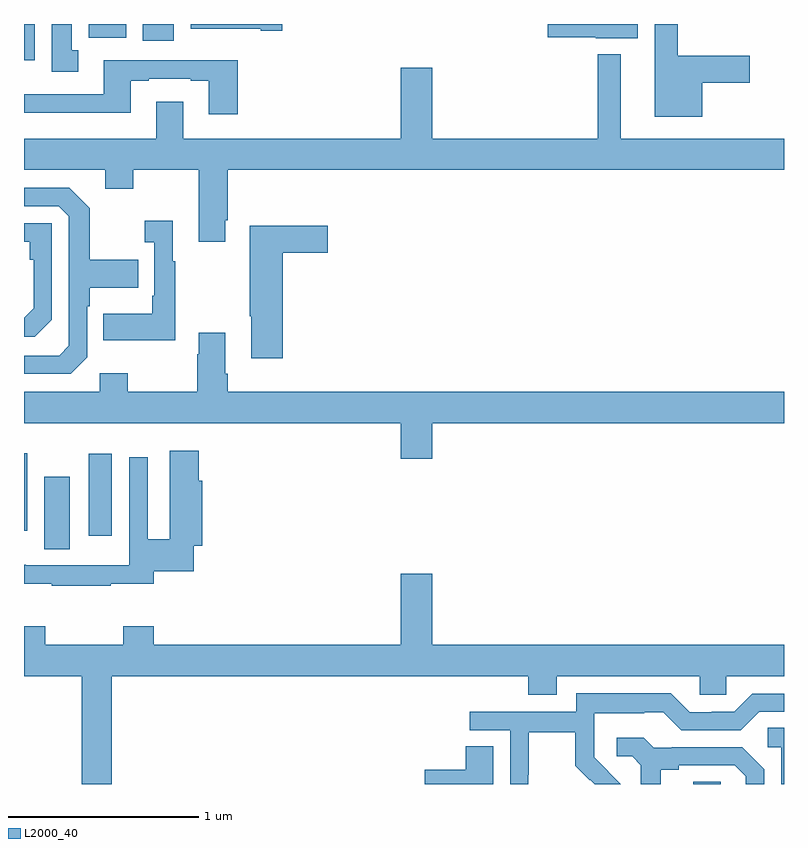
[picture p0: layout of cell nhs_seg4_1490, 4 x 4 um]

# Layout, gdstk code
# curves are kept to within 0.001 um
import gdstk
lib = gdstk.Library(unit=1e-6, precision=1e-09)
def R(c, l, rs):  # rectangles x0, y0, x1, y1
    for r in rs: c.add(gdstk.rectangle(r[:2], r[2:], *l))
def P(c, l, *ps):  # polygons
    for p in ps: c.add(gdstk.Polygon(p, *l))
L2000_40 = (2000, 40)

nhs_seg4_1490 = lib.new_cell('nhs_seg4_1490')
R(nhs_seg4_1490, L2000_40, [(190.523,814.9,190.668,814.913), (187.106,816.136,187.24,816.517), (187.34,816.207,187.462,816.637), (187,816.234,187.018,816.64), (187,818.708,187.057,818.9), (187.625,818.811,187.789,818.9), (187.34,818.828,187.537,818.9)])
P(nhs_seg4_1490, L2000_40, [(187.285,818.762),(187.252,818.762),(187.252,818.9),(187.145,818.9),(187.145,818.649),(187.285,818.649)],
  [(190.57,818.59),(190.819,818.59),(190.819,818.732),(190.441,818.732),(190.441,818.9),(190.319,818.9),(190.319,818.411),(190.57,818.411)],
  [(190.231,818.9),(189.756,818.9),(189.756,818.831),(190.008,818.831),(190.008,818.825),(190.231,818.825)],
  [(188.359,818.9),(187.877,818.9),(187.877,818.876),(188.246,818.876),(188.246,818.864),(188.359,818.864)],
  [(188.059,817.867),(188.072,817.867),(188.072,818.132),(191,818.132),(191,818.296),(190.141,818.296),(190.141,818.74),(190.02,818.74),(190.02,818.296),(189.148,818.296),(189.148,818.671),(188.984,818.671),(188.984,818.296),(187.837,818.296),(187.837,818.491),(187.697,818.491),(187.697,818.296),(187,818.296),(187,818.132),(187.427,818.132),(187.427,818.033),(187.575,818.033),(187.575,818.132),(187.919,818.132),(187.919,817.755),(188.059,817.755)],
  [(188.126,818.71),(187.885,818.71),(187.885,818.709),(187.421,818.709),(187.421,818.529),(187,818.529),(187,818.432),(187.561,818.432),(187.561,818.601),(187.657,818.601),(187.657,818.613),(187.877,818.613),(187.877,818.601),(187.973,818.601),(187.973,818.424),(188.126,818.424)],
  [(187.332,817.146),(187.332,817.415),(187.345,817.415),(187.345,817.511),(187.601,817.511),(187.601,817.659),(187.345,817.659),(187.345,817.931),(187.239,818.037),(187,818.037),(187,817.941),(187.182,817.941),(187.236,817.887),(187.236,817.206),(187.185,817.155),(187,817.155),(187,817.059),(187.245,817.059)],
  [(187.795,817.651),(187.783,817.651),(187.783,817.864),(187.635,817.864),(187.635,817.751),(187.686,817.751),(187.686,817.471),(187.674,817.471),(187.674,817.375),(187.417,817.375),(187.417,817.235),(187.795,817.235)],
  [(187.146,817.344),(187.146,817.851),(187,817.851),(187,817.755),(187.03,817.755),(187.03,817.658),(187.05,817.658),(187.05,817.404),(187,817.354),(187,817.254),(187.056,817.254)],
  [(188.363,817.697),(188.599,817.697),(188.599,817.839),(188.188,817.839),(188.188,817.363),(188.195,817.363),(188.195,817.14),(188.363,817.14)],
  [(189.148,816.8),(191,816.8),(191,816.964),(188.072,816.964),(188.072,817.06),(188.059,817.06),(188.059,817.276),(187.919,817.276),(187.919,817.163),(187.912,817.163),(187.912,816.964),(187.545,816.964),(187.545,817.063),(187.398,817.063),(187.398,816.964),(187,816.964),(187,816.8),(188.984,816.8),(188.984,816.612),(189.148,816.612)],
  [(187.457,815.953),(187.684,815.953),(187.684,816.02),(187.894,816.02),(187.894,816.155),(187.937,816.155),(187.937,816.495),(187.919,816.495),(187.919,816.655),(187.766,816.655),(187.766,816.187),(187.65,816.187),(187.65,816.619),(187.554,816.619),(187.554,816.052),(187.344,816.052),(187.344,816.051),(187.01,816.051),(187.01,816.053),(187,816.053),(187,815.953),(187.147,815.953),(187.147,815.943),(187.457,815.943)],
  [(187.463,815.468),(189.653,815.468),(189.653,815.369),(189.805,815.369),(189.805,815.468),(190.557,815.468),(190.557,815.37),(190.695,815.37),(190.695,815.468),(191,815.468),(191,815.632),(189.148,815.632),(189.148,816.007),(188.984,816.007),(188.984,815.632),(187.682,815.632),(187.682,815.731),(187.522,815.731),(187.522,815.632),(187.113,815.632),(187.113,815.731),(187,815.731),(187,815.468),(187.303,815.468),(187.303,814.9),(187.463,814.9)],
  [(189.654,814.948),(189.657,814.948),(189.657,815.172),(189.901,815.172),(189.901,814.997),(189.978,814.92),(189.981,814.923),(190.004,814.9),(190.14,814.9),(190,815.042),(190,815.139),(190.002,815.139),(190.002,815.273),(190.265,815.273),(190.265,815.277),(190.365,815.277),(190.458,815.184),(190.773,815.184),(190.869,815.28),(191,815.28),(191,815.376),(190.833,815.376),(190.737,815.28),(190.619,815.28),(190.619,815.277),(190.503,815.277),(190.403,815.377),(189.906,815.377),(189.906,815.28),(189.345,815.28),(189.345,815.184),(189.558,815.184),(189.558,814.9),(189.654,814.9)],
  [(191,815.195),(190.914,815.195),(190.914,815.094),(190.986,815.094),(190.986,814.9),(191,814.9)],
  [(190.351,814.976),(190.447,814.976),(190.447,814.998),(190.742,814.998),(190.799,814.941),(190.799,814.9),(190.896,814.9),(190.896,814.978),(190.78,815.094),(190.408,815.094),(190.408,815.091),(190.314,815.091),(190.262,815.143),(190.119,815.143),(190.119,815.046),(190.2,815.046),(190.247,814.999),(190.247,814.9),(190.351,814.9)],
  [(189.469,815.099),(189.326,815.099),(189.326,814.976),(189.108,814.976),(189.108,814.9),(189.469,814.9)])

lib.write_gds('nhs_seg4_1490.gds')
